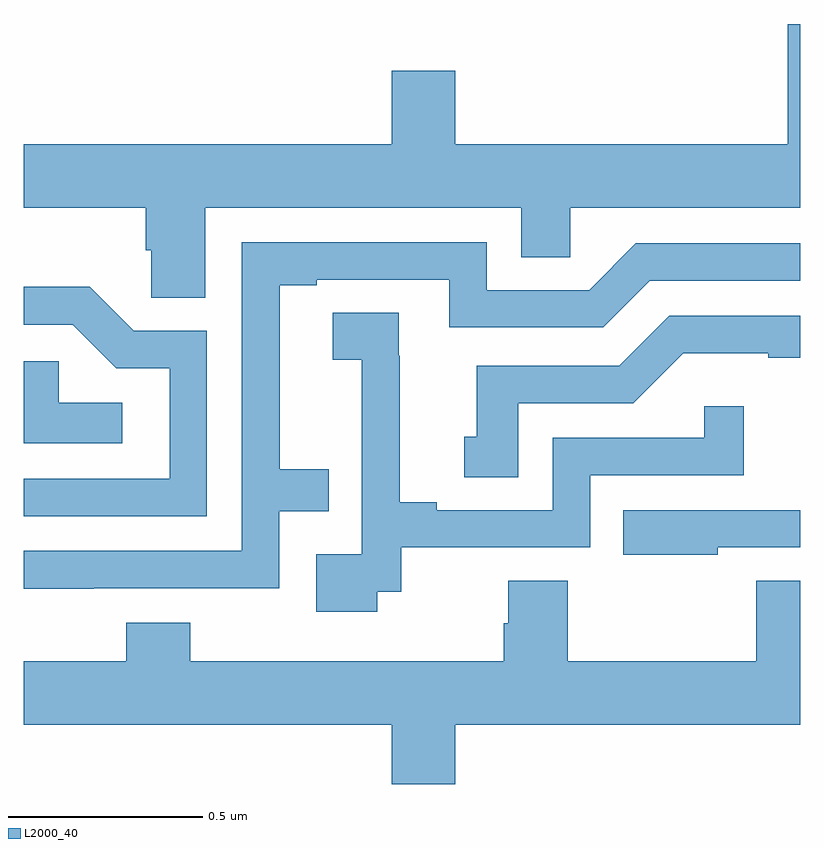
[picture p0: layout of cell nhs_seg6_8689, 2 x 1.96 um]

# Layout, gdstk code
import gdstk
lib = gdstk.Library(unit=1e-6, precision=1e-09)
def P(c, l, *ps):  # polygons
    for p in ps: c.add(gdstk.Polygon(p, *l))
L2000_40 = (2000, 40)

nhs_seg6_8689 = lib.new_cell('nhs_seg6_8689')
P(nhs_seg6_8689, L2000_40, [(224.467,965.984),(225.281,965.984),(225.281,965.857),(225.408,965.857),(225.408,965.984),(226,965.984),(226,966.457),(225.968,966.457),(225.968,966.148),(225.112,966.148),(225.112,966.337),(224.948,966.337),(224.948,966.148),(224,966.148),(224,965.984),(224.315,965.984),(224.315,965.875),(224.328,965.875),(224.328,965.752),(224.467,965.752)],
  [(224.18,965.004),(224.658,965.004),(224.658,965.202),(224.786,965.202),(224.786,965.311),(224.659,965.311),(224.659,965.784),(224.755,965.784),(224.755,965.799),(225.096,965.799),(225.096,965.676),(225.492,965.676),(225.612,965.796),(226,965.796),(226,965.892),(225.576,965.892),(225.456,965.772),(225.192,965.772),(225.192,965.895),(224.562,965.895),(224.562,965.1),(224,965.1),(224,965.003),(224.18,965.003)],
  [(224.472,965.667),(224.283,965.667),(224.17,965.78),(224,965.78),(224,965.682),(224.127,965.682),(224.238,965.571),(224.376,965.571),(224.376,965.286),(224,965.286),(224,965.19),(224.472,965.19)],
  [(224.91,964.995),(224.972,964.995),(224.972,965.109),(225.459,965.109),(225.459,965.295),(225.854,965.295),(225.854,965.473),(225.753,965.473),(225.753,965.391),(225.363,965.391),(225.363,965.205),(225.064,965.205),(225.064,965.225),(224.968,965.225),(224.968,965.603),(224.966,965.603),(224.966,965.714),(224.796,965.714),(224.796,965.593),(224.87,965.593),(224.87,965.395),(224.871,965.395),(224.871,965.091),(224.754,965.091),(224.754,964.944),(224.91,964.944)],
  [(225.274,965.481),(225.57,965.481),(225.698,965.609),(225.917,965.609),(225.917,965.598),(226,965.598),(226,965.706),(225.663,965.706),(225.534,965.577),(225.167,965.577),(225.167,965.394),(225.134,965.394),(225.134,965.29),(225.274,965.29)],
  [(224.254,965.482),(224.091,965.482),(224.091,965.589),(224,965.589),(224,965.378),(224.254,965.378)],
  [(225.787,965.109),(226,965.109),(226,965.205),(225.544,965.205),(225.544,965.09),(225.787,965.09)],
  [(225.112,964.652),(226,964.652),(226,965.024),(225.887,965.024),(225.887,964.816),(225.401,964.816),(225.401,965.024),(225.248,965.024),(225.248,964.914),(225.236,964.914),(225.236,964.816),(224.429,964.816),(224.429,964.915),(224.264,964.915),(224.264,964.816),(224,964.816),(224,964.652),(224.948,964.652),(224.948,964.5),(225.112,964.5)])

lib.write_gds('nhs_seg6_8689.gds')
